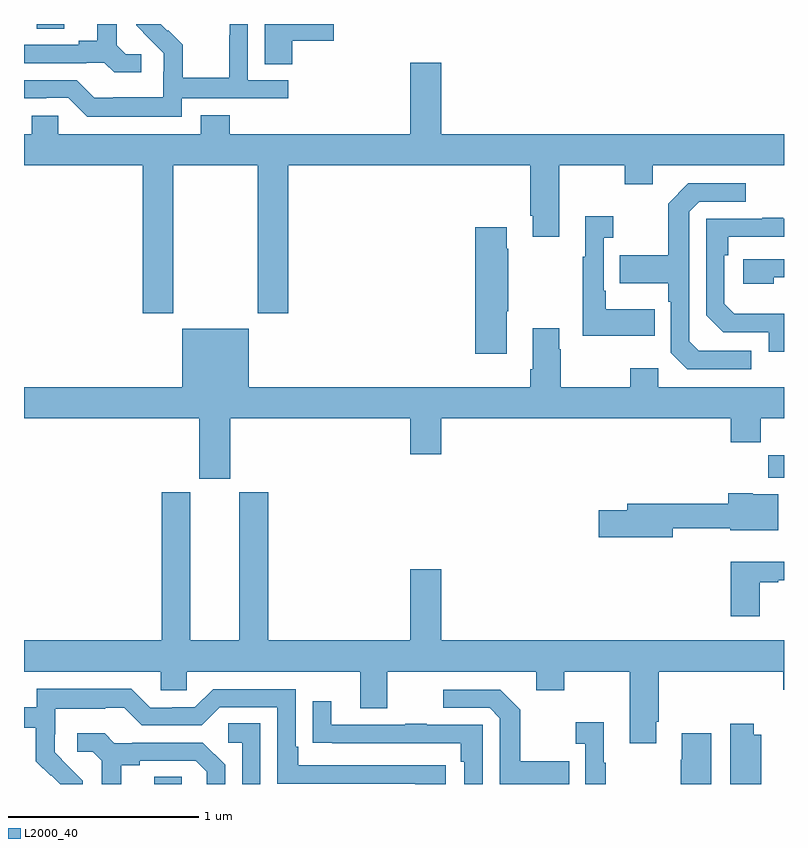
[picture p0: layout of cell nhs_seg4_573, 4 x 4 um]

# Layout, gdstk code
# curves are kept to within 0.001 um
import gdstk
lib = gdstk.Library(unit=1e-6, precision=1e-09)
def R(c, l, rs):  # rectangles x0, y0, x1, y1
    for r in rs: c.add(gdstk.rectangle(r[:2], r[2:], *l))
def P(c, l, *ps):  # polygons
    for p in ps: c.add(gdstk.Polygon(p, *l))
L2000_40 = (2000, 40)

nhs_seg4_573 = lib.new_cell('nhs_seg4_573')
R(nhs_seg4_573, L2000_40, [(139.685,790.9,139.83,790.937), (142.918,792.512,143,792.631), (139.068,794.875,139.213,794.9)])
P(nhs_seg4_573, L2000_40, [(139.83,794.508),(140.392,794.508),(140.392,794.604),(140.178,794.604),(140.178,794.9),(140.082,794.9),(140.082,794.84),(140.08,794.84),(140.08,794.617),(139.835,794.617),(139.835,794.791),(139.758,794.868),(139.755,794.865),(139.72,794.9),(139.59,794.9),(139.59,794.894),(139.736,794.746),(139.736,794.649),(139.734,794.649),(139.734,794.515),(139.471,794.515),(139.471,794.511),(139.371,794.511),(139.278,794.604),(139,794.604),(139,794.508),(139.118,794.508),(139.118,794.511),(139.233,794.511),(139.333,794.411),(139.83,794.411)],
  [(140.411,794.813),(140.629,794.813),(140.629,794.9),(140.267,794.9),(140.267,794.689),(140.411,794.689)],
  [(139.618,794.742),(139.536,794.742),(139.489,794.789),(139.489,794.9),(139.385,794.9),(139.385,794.813),(139.289,794.813),(139.289,794.79),(139,794.79),(139,794.694),(139.328,794.694),(139.328,794.697),(139.422,794.697),(139.474,794.645),(139.618,794.645)],
  [(141.196,794.695),(141.032,794.695),(141.032,794.32),(140.084,794.32),(140.084,794.419),(139.931,794.419),(139.931,794.32),(139.179,794.32),(139.179,794.418),(139.041,794.418),(139.041,794.32),(139,794.32),(139,794.156),(139.625,794.156),(139.625,793.377),(139.785,793.377),(139.785,794.156),(140.23,794.156),(140.23,793.377),(140.39,793.377),(140.39,794.156),(141.665,794.156),(141.665,793.891),(141.677,793.891),(141.677,793.779),(141.817,793.779),(141.817,794.156),(142.162,794.156),(142.162,794.057),(142.309,794.057),(142.309,794.156),(143,794.156),(143,794.32),(141.196,794.32)],
  [(142.828,793.179),(142.551,793.179),(142.5,793.23),(142.5,793.911),(142.554,793.965),(142.798,793.965),(142.798,794.061),(142.497,794.061),(142.392,793.955),(142.392,793.683),(142.135,793.683),(142.135,793.535),(142.392,793.535),(142.392,793.439),(142.404,793.439),(142.404,793.17),(142.491,793.083),(142.828,793.083)],
  [(142.319,793.399),(142.063,793.399),(142.063,793.495),(142.05,793.495),(142.05,793.775),(142.102,793.775),(142.102,793.888),(141.953,793.888),(141.953,793.675),(141.942,793.675),(141.942,793.259),(142.319,793.259)],
  [(143,793.375),(142.739,793.375),(142.686,793.428),(142.686,793.682),(142.706,793.682),(142.706,793.779),(143,793.779),(143,793.875),(142.997,793.875),(142.997,793.88),(142.885,793.88),(142.885,793.875),(142.59,793.875),(142.59,793.368),(142.68,793.278),(142.92,793.278),(142.92,793.176),(143,793.176)],
  [(141.541,793.387),(141.549,793.387),(141.549,793.718),(141.541,793.718),(141.541,793.831),(141.374,793.831),(141.374,793.164),(141.541,793.164)],
  [(142.946,793.566),(143,793.566),(143,793.662),(142.785,793.662),(142.785,793.532),(142.946,793.532)],
  [(140.086,792.824),(141.032,792.824),(141.032,792.636),(141.196,792.636),(141.196,792.824),(142.721,792.824),(142.721,792.7),(142.877,792.7),(142.877,792.824),(143,792.824),(143,792.988),(142.338,792.988),(142.338,793.087),(142.192,793.087),(142.192,792.988),(141.825,792.988),(141.825,793.187),(141.817,793.187),(141.817,793.3),(141.677,793.3),(141.677,793.084),(141.665,793.084),(141.665,792.988),(140.182,792.988),(140.182,793.297),(139.832,793.297),(139.832,792.988),(139,792.988),(139,792.824),(139.922,792.824),(139.922,792.507),(140.086,792.507)],
  [(139.724,791.656),(139,791.656),(139,791.492),(139.719,791.492),(139.719,791.394),(139.857,791.394),(139.857,791.492),(140.771,791.492),(140.771,791.298),(140.911,791.298),(140.911,791.492),(141.695,791.492),(141.695,791.393),(141.843,791.393),(141.843,791.492),(142.187,791.492),(142.187,791.115),(142.327,791.115),(142.327,791.227),(142.34,791.227),(142.34,791.492),(142.997,791.492),(142.997,791.396),(143,791.396),(143,791.656),(141.196,791.656),(141.196,792.031),(141.032,792.031),(141.032,791.656),(140.285,791.656),(140.285,792.435),(140.132,792.435),(140.132,791.656),(139.876,791.656),(139.876,792.435),(139.724,792.435)],
  [(142.414,792.247),(142.718,792.247),(142.718,792.236),(142.969,792.236),(142.969,792.424),(142.836,792.424),(142.836,792.43),(142.706,792.43),(142.706,792.376),(142.175,792.376),(142.175,792.342),(142.026,792.342),(142.026,792.2),(142.414,792.2)],
  [(142.873,791.961),(142.969,791.961),(142.969,791.973),(143,791.973),(143,792.07),(142.721,792.07),(142.721,791.784),(142.873,791.784)],
  [(139.308,790.918),(139.162,791.066),(139.162,791.163),(139.164,791.163),(139.164,791.297),(139.427,791.297),(139.427,791.301),(139.527,791.301),(139.62,791.208),(139.935,791.208),(140.031,791.304),(140.334,791.304),(140.334,790.902),(141.059,790.902),(141.059,790.9),(141.22,790.9),(141.22,790.998),(140.443,790.998),(140.443,791.095),(140.43,791.095),(140.43,791.4),(139.995,791.4),(139.899,791.304),(139.781,791.304),(139.781,791.301),(139.665,791.301),(139.565,791.401),(139.068,791.401),(139.068,791.304),(139,791.304),(139,791.196),(139.063,791.196),(139.063,791.021),(139.14,790.944),(139.143,790.947),(139.191,790.9),(139.308,790.9)],
  [(141.869,791.019),(141.613,791.019),(141.613,791.291),(141.507,791.397),(141.207,791.397),(141.207,791.301),(141.45,791.301),(141.504,791.247),(141.504,790.9),(141.869,790.9)],
  [(141.414,791.211),(141.119,791.211),(141.119,791.216),(141.007,791.216),(141.007,791.211),(140.617,791.211),(140.617,791.335),(140.521,791.335),(140.521,791.116),(140.623,791.116),(140.623,791.115),(141.298,791.115),(141.298,791.018),(141.318,791.018),(141.318,790.9),(141.414,790.9)],
  [(142.063,791.011),(142.051,791.011),(142.051,791.224),(141.903,791.224),(141.903,791.111),(141.954,791.111),(141.954,790.9),(142.063,790.9)],
  [(140.244,791.219),(140.076,791.219),(140.076,791.118),(140.148,791.118),(140.148,790.9),(140.244,790.9)],
  [(142.881,791.158),(142.84,791.158),(142.84,791.218),(142.718,791.218),(142.718,790.9),(142.881,790.9)],
  [(139.513,791),(139.609,791),(139.609,791.022),(139.904,791.022),(139.961,790.965),(139.961,790.9),(140.058,790.9),(140.058,791.002),(139.942,791.118),(139.57,791.118),(139.57,791.115),(139.476,791.115),(139.424,791.167),(139.281,791.167),(139.281,791.07),(139.362,791.07),(139.409,791.023),(139.409,790.9),(139.513,790.9)],
  [(142.618,791.167),(142.463,791.167),(142.463,791.027),(142.456,791.027),(142.456,790.9),(142.618,790.9)])

lib.write_gds('nhs_seg4_573.gds')
